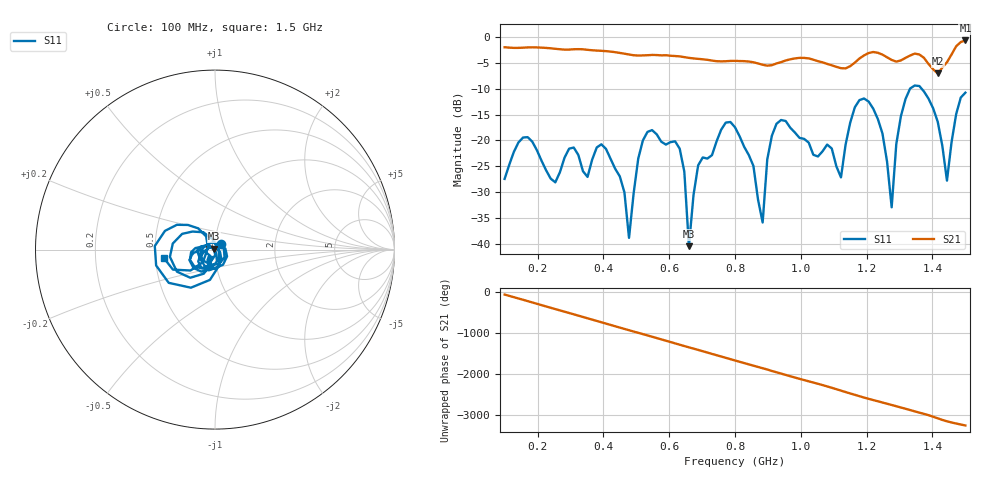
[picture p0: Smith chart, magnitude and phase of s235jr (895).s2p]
! NanoVNA-App
! Date: 2025-09-25 15:11:08
! Start: 100MHz Stop: 1,5GHz Points: 101
! S-Parameter data: F S11 S21 S12 S22
# Hz S RI R 50
!  Frequency  S11_Real  S11_Imag  S21_Real  S21_Imag  S12_Real  S12_Imag  S22_Real  S22_Imag
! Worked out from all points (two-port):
!   101 points, 100 MHz to 1.5 GHz, reference 50 ohm
!   highest |S21| = -0.65 dB at 1.5 GHz (marker M1); lowest = -7.0 dB at 1.416 GHz (marker M2)
!   |S21| within 3 dB of the highest: start of sweep to 613.7 MHz; 1.19 GHz to 1.255 GHz (65.3 MHz wide, 5.34 % of centre) (the widest 2 of 4)
!   lowest |S11| = -40.5 dB at 660 MHz (marker M3), VSWR 1.02, Z = 49.3 + j0.589 ohm
!   |S11| at or under -10 dB: start of sweep to 1.332 GHz; 1.367 GHz to end of sweep
!   S12 and S22 are empty: the file has one direction only
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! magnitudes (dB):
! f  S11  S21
! 100 MHz  -27.5  -2.0
! 156 MHz  -19.5  -2.0
! 338 MHz  -26.0  -2.4
! 408 MHz  -21.7  -2.7
! 478 MHz  -38.9  -3.4
! 520 MHz  -20.0  -3.5
! 576 MHz  -20.3  -3.5
! 632 MHz  -21.6  -3.7
! 660 MHz  -40.5  -4.0
! 688 MHz  -24.8  -4.2
! 800 MHz  -17.5  -4.6
! 884 MHz  -35.9  -5.4
! 926 MHz  -16.8  -5.1
! 1.038 GHz  -22.8  -4.4
! 1.122 GHz  -27.2  -6.0
! 1.206 GHz  -12.5  -3.1
! 1.276 GHz  -33.0  -4.4
! 1.29 GHz  -20.7  -4.7
! 1.332 GHz  -10.0  -3.6
! 1.416 GHz  -16.4  -7.0
! 1.444 GHz  -27.8  -4.9
! 1.5 GHz  -10.8  -0.6
